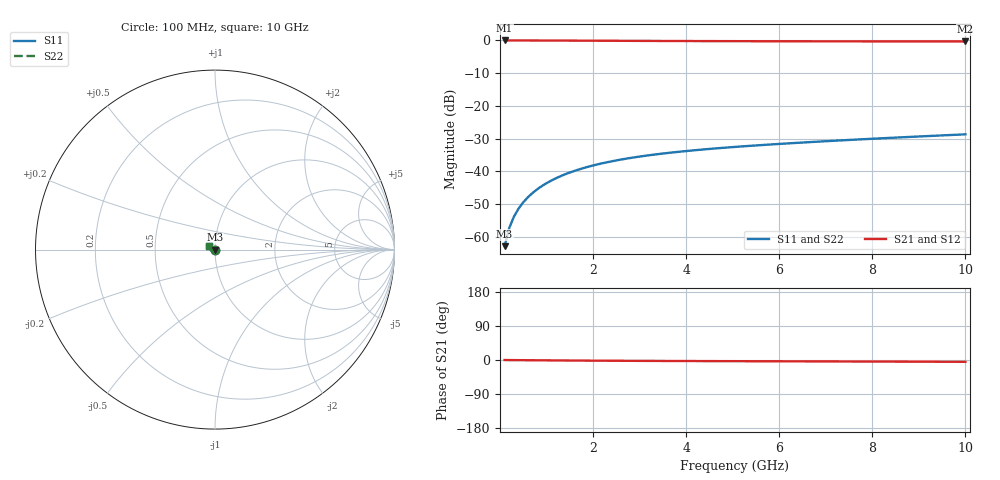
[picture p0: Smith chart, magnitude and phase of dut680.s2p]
! Touchstone file exported from HFSS 2024.1.0
!  File:  C:/UserFiles/LocalFiles/RDL_TSV_Batchsim/temp_TSV1_680_1779794955.aedt
!  Generated:  07:36:39 PM May 26, 2026
!  Design:  TSV1
!  Project:  temp_TSV1_680_1779794955
!  Setup:  Setup1
!  Solution:  Sweep
! Variables:
!  dtsv = 7.16um
!  hbump = 3um
!  htsv = 69.3um
!  lrdl = 252.1521522um
!  p = 40
!  p1 = 54.77um
!  t = 500um
!  trdl = 3um
!  wrdl = 24.89489489um
# GHz S MA R 50.000000
! Terminal data exported
! Port[1] = TSV22_T1
! Port[2] = TSV22_T2
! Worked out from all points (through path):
!   100 points, 100 MHz to 10 GHz, reference 50 ohm
!   highest |S21| = 0.00 dB at 100 MHz (marker M1); lowest = -0.3 dB at 10 GHz (marker M2)
!   lowest |S11| = -62.8 dB at 100 MHz (marker M3), VSWR 1.00, Z = 50 - j0.0686 ohm
!   |S11| at or under -10 dB: start of sweep to end of sweep
!   |S22| runs from -62.8 to -28.7 dB; largest |S21 - S12| = 4e-15
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0.1  0.0007229 -71.5  0.9997 -0.1  0.9997 -0.1  0.0007229 -71.5
! Gamma 0 0 0 0
! Port Impedance 50 0 50 0
0.2  0.001375 -83.9  0.9996 -0.2  0.9996 -0.2  0.001375 -83.9
0.3  0.00204 -89.8  0.9995 -0.3  0.9995 -0.3  0.00204 -89.8
0.4  0.002707 -93.8  0.9993 -0.4  0.9993 -0.4  0.002707 -93.8
0.5  0.003372 -97.2  0.999 -0.5  0.999 -0.5  0.003372 -97.2
0.6  0.004033 -100.2  0.9987 -0.6  0.9987 -0.6  0.004033 -100.2
0.7  0.004689 -102.9  0.9983 -0.7  0.9983 -0.7  0.004689 -102.9
0.8  0.005339 -105.5  0.998 -0.8  0.998 -0.8  0.005339 -105.5
0.9  0.005981 -108.0  0.9975 -0.9  0.9975 -0.9  0.005981 -108.0
1.1  0.007238 -112.8  0.9965 -1.0  0.9965 -1.0  0.007238 -112.8
1.4  0.009045 -119.4  0.9949 -1.3  0.9949 -1.3  0.009045 -119.4
1.6  0.01019 -123.6  0.9937 -1.4  0.9937 -1.4  0.01019 -123.6
1.8  0.01129 -127.7  0.9924 -1.6  0.9924 -1.6  0.01129 -127.7
2.1  0.01284 -133.4  0.9904 -1.8  0.9904 -1.8  0.01284 -133.4
2.5  0.01474 -140.7  0.9878 -2.0  0.9878 -2.0  0.01474 -140.7
2.9  0.01646 -147.3  0.9853 -2.2  0.9853 -2.2  0.01646 -147.3
3.4  0.0184 -155.0  0.9824 -2.5  0.9824 -2.5  0.0184 -155.0
4.2  0.02112 -165.8  0.9783 -2.8  0.9783 -2.8  0.02112 -165.8
5.1  0.02382 -176.2  0.9747 -3.1  0.9747 -3.1  0.02382 -176.2
6.7  0.02816 168.9  0.9702 -3.7  0.9702 -3.7  0.02815 168.9
8.4  0.03259 156.7  0.967 -4.2  0.967 -4.2  0.03259 156.7
10  0.03684 147.7  0.9649 -4.8  0.9649 -4.8  0.03684 147.7
